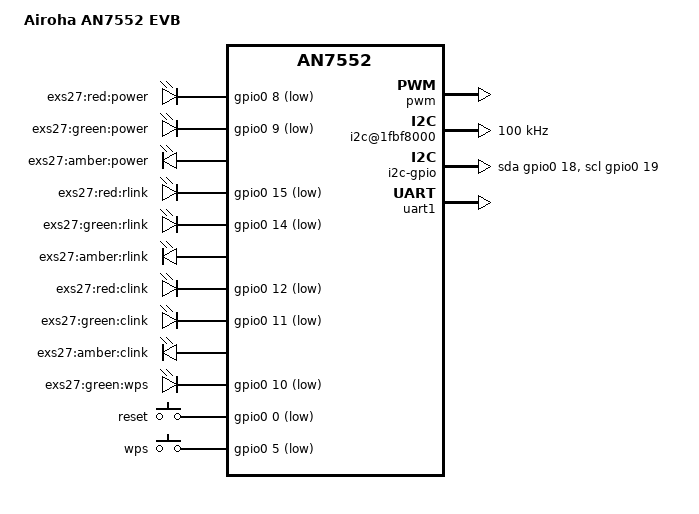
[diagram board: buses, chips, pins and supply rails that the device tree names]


#include <dt-bindings/interrupt-controller/irq.h>
#include <dt-bindings/interrupt-controller/arm-gic.h>
#include <dt-bindings/gpio/gpio.h>
#include <dt-bindings/input/input.h>
#include <dt-bindings/thermal/thermal.h>

/dts-v1/;
#include "en7552.dtsi"
/ {
	model = "Airoha AN7552 EVB";
	compatible = "airoha,an7552-evb", "econet,en7523", "airoha,en7523", "econet,en7552", "airoha,an7552";
	#address-cells = <1>;
	#size-cells = <1>;

	gpio0: gpio@1fbf0200 {
		compatible = "airoha,airoha-gpio";
		gpio_base = <0>;
		reg = <0x1fbf0204 0x4>,
		      <0x1fbf0200 0x4>,
		      <0x1fbf0220 0x4>,
		      <0x1fbf0214 0x4>;
		gpio-controller;
		#gpio-cells = <2>;
	};

	gpio1: gpio@1fbf0270 {
		compatible = "airoha,airoha-gpio";
		gpio_base = <32>;
		reg = <0x1fbf0270 0x4>,
		      <0x1fbf0260 0x4>,
		      <0x1fbf0264 0x4>,
		      <0x1fbf0278 0x4>;
		gpio-controller;
		#gpio-cells = <2>;
	};
	
	pwm: pwm@1fbf0234{
		compatible = "airoha,airoha-pwm";
		reg = <0x1fbf0234 0x20>,
		      <0x1fbf0268 0x4>,
		      <0x1fbf0298 0x24>;
	};

	leds {
		compatible = "gpio-leds";

		power_red {
			label = "exs27:red:power";
			gpios = <&gpio0 8 GPIO_ACTIVE_LOW>;
			default-state = "on";
		};
		power_green {
			label = "exs27:green:power";
			gpios = <&gpio0 9 GPIO_ACTIVE_LOW>;
			default-state = "on";
		};
		power_amber {
			label = "exs27:amber:power";
			combined = "exs27:green:power","exs27:red:power";
		};

		rlink_red {
			label = "exs27:red:rlink";
			gpios = <&gpio0 15 GPIO_ACTIVE_LOW>;
			default-state = "off";
		};
		rlink_green {
			label = "exs27:green:rlink";
			gpios = <&gpio0 14 GPIO_ACTIVE_LOW>;
			default-state = "off";
		};
		rlink_amber {
			label = "exs27:amber:rlink";
			combined = "exs27:green:rlink","exs27:red:rlink";
		};

		clink_red {
			label = "exs27:red:clink";
			gpios = <&gpio0 12 GPIO_ACTIVE_LOW>;
			default-state = "off";
		};
		clink_green {
			label = "exs27:green:clink";
			gpios = <&gpio0 11 GPIO_ACTIVE_LOW>;
			default-state = "off";
		};
		clink_amber {
			label = "exs27:amber:clink";
			combined = "exs27:green:clink","exs27:red:clink";
		};

		wps_green {
			label = "exs27:green:wps";
			gpios = <&gpio0 10 GPIO_ACTIVE_LOW>;
			default-state = "off";
		};
	};
	
	gpio-keys-polled {
		compatible = "gpio-keys-polled";
		poll-interval = <100>;
		
		reset {
			label = "reset";
			linux,code = <KEY_RESTART>;
			gpios = <&gpio0 0 GPIO_ACTIVE_LOW>;
		};
		
		wps {
			label = "wps";
			linux,code = <KEY_WPS_BUTTON>;
			gpios = <&gpio0 5 GPIO_ACTIVE_LOW>;
		};
	};

	partitions {
		compatible = "fixed-partitions";
		#address-cells = <1>;
		#size-cells = <1>;

		bootloader@0 {
			label = "bootloader";
			reg = <0x00000000 0x00080000>;
		};
		u-boot-env@80000 {
			label = "u-boot-env";
			reg = <0x00080000 0x00080000>;
		};
		factory@100000 {
			label = "Factory";
			reg = <0x00100000 0x00400000>;
		};
		tclinux@500000 {
			label = "tclinux";
			reg = <0x00500000 0x02800000>;
		};
		tclinux_slave@2D00000 {
			label = "tclinux_slave";
			reg = <0x02D00000 0x02800000>;
		};		
		rootfs_data@5500000 {
			label = "rootfs_data";
			reg = <0x05500000 0x00800000>;
		};
		facenv@5d00000 {
			label = "facenv";
			reg = <0x05d00000 0x00200000>;
		};
		RAE@5f00000 {
			label = "RAE";
			reg = <0x05f00000 0x00600000>;
		};
		POT@6500000 {
			label = "POT";
			reg = <0x06500000 0x00020000>;
		};
		LOG@6520000 {
			label = "LOG";
			reg = <0x06520000 0x00040000>;
		};
		art@de80000 {
			label = "art";
			//art is located in flash end. if reg offset != ffffffff, it represents the actual offset
			//else offset = flash_logic_size-reg_size(drivers/mtd/maps/tc3162-flash.c)
			reg = <0xffffffff 0x00380000>;
		};
	};
	i2c@1fbf8000 {
		compatible = "airoha,airoha-i2c";
		reg = <0x1fbf8000 0x65>;
		clock-frequency = <100000>;
	};
	i2c-gpio {
		compatible = "i2c-gpio";
		sda-gpios = <&gpio0 18 GPIO_ACTIVE_HIGH>;
		scl-gpios = <&gpio0 19 GPIO_ACTIVE_HIGH>;
		i2c-gpio,delay-us = <2>;
		#address-cells = <0>;
		#size-cells = <0>;
	};
	airoha-trng@1faa1000 {
		compatible = "airoha,airoha-trng";
		reg = <0x1faa1000 0xc04>;
		interrupts = <GIC_SPI 35 IRQ_TYPE_LEVEL_HIGH>;
	};
	thermal-zones {
		cpu_thermal: cpu-thermal {
			polling-delay-passive = <200>;
			polling-delay = <1000>;
			thermal-sensors = <&thermal_phy 0>;
			trips {
				cpu_passive: cpu-passive {
					temperature = <125000>;
					hysteresis = <0>;
					type = "passive";
				};
			};
			cooling-maps {
				map0 {
					trip = <&cpu_passive>;
					cooling-device = <&cpu0 THERMAL_NO_LIMIT THERMAL_NO_LIMIT>,
							 <&cpu1 THERMAL_NO_LIMIT THERMAL_NO_LIMIT>;
				};
			};
		};
	};
	thermal_phy: thermal_phy@1efbd000 {
		#thermal-sensor-cells = <0>;
		compatible = "airoha,en7552-thermal_phy";		
		reg = <0x1efbd000 0x0fff>; //ptp_thermal_ctrl
		int_name = "ptp_therm";
	};
	uart1: serial@1fbf0000 {
		compatible = "ns8250";
		reg = <0x1fbf0000 0x30>;
		reg-io-width = <4>;
		reg-shift = <2>;
		interrupts = <GIC_SPI 18 IRQ_TYPE_LEVEL_HIGH>;
		clock-frequency = <1843200>;
		status = "okay";
	};
	crypto_eip93@1fb70000 {
		compatible = "airoha,airoha-eip93";
		reg = <0x1fb70000 0x804>;
		interrupts = <GIC_SPI 44 IRQ_TYPE_LEVEL_HIGH>;			
	};

};
